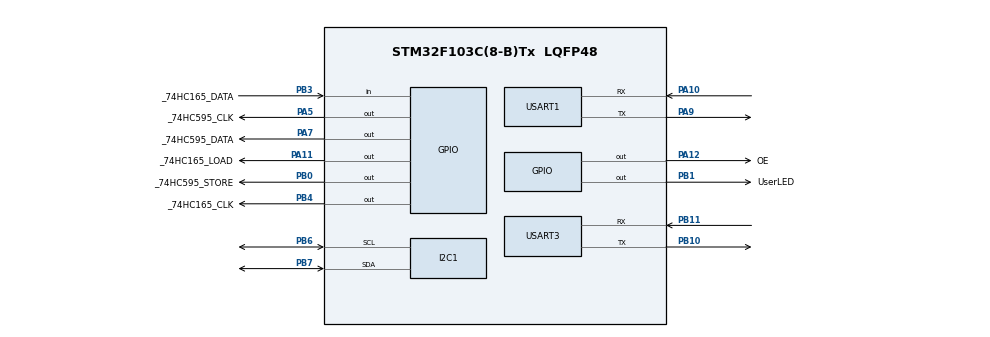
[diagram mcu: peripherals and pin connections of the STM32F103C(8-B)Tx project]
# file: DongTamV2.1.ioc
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Dma.Request0=USART1_RX
Dma.Request1=USART3_RX
Dma.USART1_RX.0.Direction=DMA_PERIPH_TO_MEMORY
Dma.USART1_RX.0.Instance=DMA1_Channel5
Dma.USART1_RX.0.MemDataAlignment=DMA_MDATAALIGN_BYTE
Dma.USART1_RX.0.MemInc=DMA_MINC_ENABLE
Dma.USART1_RX.0.Mode=DMA_NORMAL
Dma.USART1_RX.0.PeriphDataAlignment=DMA_PDATAALIGN_BYTE
Dma.USART1_RX.0.PeriphInc=DMA_PINC_DISABLE
Dma.USART1_RX.0.Priority=DMA_PRIORITY_LOW
Dma.USART3_RX.1.Direction=DMA_PERIPH_TO_MEMORY
Dma.USART3_RX.1.Instance=DMA1_Channel3
Dma.USART3_RX.1.MemDataAlignment=DMA_MDATAALIGN_BYTE
Dma.USART3_RX.1.MemInc=DMA_MINC_ENABLE
Dma.USART3_RX.1.Mode=DMA_NORMAL
Dma.USART3_RX.1.PeriphDataAlignment=DMA_PDATAALIGN_BYTE
Dma.USART3_RX.1.PeriphInc=DMA_PINC_DISABLE
Dma.USART3_RX.1.Priority=DMA_PRIORITY_LOW
Mcu.Family=STM32F1
Mcu.Name=STM32F103C(8-B)Tx
Mcu.Package=LQFP48
NVIC.DMA1_Channel3_IRQn=true\:0\:0\:false\:false\:true\:false\:true\:true
NVIC.DMA1_Channel5_IRQn=true\:0\:0\:false\:false\:true\:false\:true\:true
NVIC.PriorityGroup=NVIC_PRIORITYGROUP_4
NVIC.TIM2_IRQn=true\:0\:0\:false\:false\:true\:true\:true\:true
NVIC.USART1_IRQn=true\:0\:0\:false\:false\:true\:true\:true\:true
NVIC.USART3_IRQn=true\:0\:0\:false\:false\:true\:true\:true\:true
PA10.Mode=Asynchronous
PA10.Signal=USART1_RX
PA11.GPIO_Label=_74HC165_LOAD
PA11.Signal=GPIO_Output
PA12.GPIO_Label=OE
PA12.Signal=GPIO_Output
PA13.Mode=Serial_Wire
PA13.Signal=SYS_JTMS-SWDIO
PA14.Mode=Serial_Wire
PA14.Signal=SYS_JTCK-SWCLK
PA5.GPIO_Label=_74HC595_CLK
PA5.Signal=GPIO_Output
PA7.GPIO_Label=_74HC595_DATA
PA7.Signal=GPIO_Output
PA9.Mode=Asynchronous
PA9.Signal=USART1_TX
PB0.GPIO_Label=_74HC595_STORE
PB0.Signal=GPIO_Output
PB1.GPIO_Label=UserLED
PB1.Signal=GPIO_Output
PB10.Mode=Asynchronous
PB10.Signal=USART3_TX
PB11.Mode=Asynchronous
PB11.Signal=USART3_RX
PB3.GPIO_Label=_74HC165_DATA
PB3.Signal=GPIO_Input
PB4.GPIO_Label=_74HC165_CLK
PB4.Signal=GPIO_Output
PB6.Mode=I2C
PB6.Signal=I2C1_SCL
PB7.Mode=I2C
PB7.Signal=I2C1_SDA
PD0-OSC_IN.Mode=HSE-External-Oscillator
PD0-OSC_IN.Signal=RCC_OSC_IN
PD1-OSC_OUT.Mode=HSE-External-Oscillator
PD1-OSC_OUT.Signal=RCC_OSC_OUT
ProjectManager.HeapSize=0x200
ProjectManager.StackSize=0x400
ProjectManager.TargetToolchain=STM32CubeIDE
RCC.APB1Freq_Value=8000000
RCC.APB2Freq_Value=8000000
TIM2.Period=10000-1
TIM2.Prescaler=8-1
USART1.VirtualMode=VM_ASYNC
USART3.VirtualMode=VM_ASYNC
VP_TIM2_VS_ClockSourceINT.Mode=Internal
board=custom

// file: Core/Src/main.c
/* USER CODE BEGIN Header */
/**
  ******************************************************************************
  * @file           : main.c
  * @brief          : Main program body
  ******************************************************************************
  * @attention
  *
  * Copyright (c) 2023 STMicroelectronics.
  * All rights reserved.
  *
  * This software is licensed under terms that can be found in the LICENSE file
  * in the root directory of this software component.
  * If no LICENSE file comes with this software, it is provided AS-IS.
  *
  ******************************************************************************
  */
/* USER CODE END Header */
#include "main.h"

/* USER CODE BEGIN Includes */
#include "stdbool.h"
#include "stdio.h"
#include "stdlib.h"

#include "BoardParameter.h"
#include "MessageHandle.h"

/* USER CODE END Includes */

I2C_HandleTypeDef hi2c1;

TIM_HandleTypeDef htim2;

UART_HandleTypeDef huart1;
UART_HandleTypeDef huart3;
DMA_HandleTypeDef hdma_usart1_rx;
DMA_HandleTypeDef hdma_usart3_rx;

/* USER CODE BEGIN PV */

FlagGroup_t fUART,fMesg,f1;
int SetVan,ClearVan;
char uartEsp32Buffer[MAX_MESSAGE],uartLogBuffer[MAX_MESSAGE];
uint16_t uartEsp32RxSize,uartLogRxSize;
UART_HandleTypeDef *uartTarget;
char mesgRX[MAX_MESSAGE],mesgTX[MAX_MESSAGE];
MesgValRX mesgRxRet;
uint16_t timerArray[2];
char outputStr[50];
/* USER CODE END PV */

void SystemClock_Config(void);
static void MX_GPIO_Init(void);
static void MX_DMA_Init(void);
static void MX_USART1_UART_Init(void);
static void MX_USART3_UART_Init(void);
static void MX_I2C1_Init(void);
static void MX_TIM2_Init(void);
/* USER CODE BEGIN PFP */
void SetUp();
void ProcedureVan();
HAL_StatusTypeDef GetUartMessage(char *outputStr);
/* USER CODE END PFP */

/* USER CODE BEGIN 0 */
const char *TAG = "MAIN";

void HAL_I2C_MasterRxCpltCallback(I2C_HandleTypeDef *hi2c)
{
	if(hi2c->Instance == I2C1){

	}
}
void HAL_UARTEx_RxEventCallback(UART_HandleTypeDef *huart, uint16_t Size){
	if(huart->Instance == USART1){
		HAL_UARTEx_ReceiveToIdle_DMA(huart, (uint8_t*)uartEsp32Buffer, MAX_MESSAGE);
		uartEsp32RxSize = Size;
		SETFLAG(fUART,FLAG_UART_ESP_RX_DONE);
	}
	if(huart->Instance == USART3){
		HAL_UARTEx_ReceiveToIdle_DMA(huart, (uint8_t*)uartLogBuffer, MAX_MESSAGE);
		uartLogRxSize = Size;
		SETFLAG(fUART,FLAG_UART_LOG_RX_DONE);
	}
}

void HAL_TIM_PeriodElapsedCallback(TIM_HandleTypeDef *htim)
{
	if(htim->Instance == TIM2){
		VanProcedure state = Brd_GetVanProcState();
		uint32_t tArray;
		switch(state){
			case BRD_PULSE_TIME:
				tArray = Brd_GetTimerArray(0);
				tArray++;
				Brd_SetTimerArray(0, tArray);
			break;
			case BRD_INTERVAL_TIME:
				tArray = Brd_GetTimerArray(1);
				tArray++;
				Brd_SetTimerArray(1, tArray);
			break;
			case BRD_CYCLE_INTERVAL_TIME:
//				tArray = Brd_GetTimerArray(2);
//				tArray++;
//				Brd_SetTimerArray(2, tArray);
			break;
			default:

			break;
		}
	}
}

extern BoardParameter brdParam;
/* USER CODE END 0 */

int main(void)
{

  /* MCU Configuration--------------------------------------------------------*/

  /* Reset of all peripherals, Initializes the Flash interface and the Systick. */
  HAL_Init();

  /* Configure the system clock */
  SystemClock_Config();

  /* Initialize all configured peripherals */
  MX_GPIO_Init();
  MX_DMA_Init();
  MX_USART1_UART_Init();
  MX_USART3_UART_Init();
  MX_I2C1_Init();
  MX_TIM2_Init();
  /* USER CODE BEGIN 2 */
  SetUp();
  HAL_GPIO_WritePin(UserLED_GPIO_Port, UserLED_Pin, 1);
  HAL_TIM_Base_Start_IT(&htim2);
  uartTarget = &huart3;
  while(!uartTarget);
  brdParam.cycIntvTime = 2;
  brdParam.intervalTime = 10;
  brdParam.pulseTime = 60;
  Brd_SetTotalVan(2);
  /* USER CODE END 2 */

  /* Infinite loop */
  /* USER CODE BEGIN WHILE */
  while (1)
  {
	  if(!GetUartMessage(mesgRX)){
		  mesgRxRet = MessageRxHandle(mesgRX,mesgTX);
		  if((HAL_StatusTypeDef)mesgRxRet != HAL_OK) {
			  HAL_UART_Transmit(uartTarget,(uint8_t*) mesgTX, strlen(mesgTX), HAL_MAX_DELAY);
			  char *s = "Invalid message, do nothing\n";
			  HAL_UART_Transmit(uartTarget,(uint8_t*) s, strlen(s), HAL_MAX_DELAY);
		  }
		  else HAL_UART_Transmit(uartTarget, (uint8_t*) mesgTX, strlen(mesgTX), HAL_MAX_DELAY);
	  }
	  ProcedureTriggerVan(outputStr);
	  if(Brd_GetVanProcState() == BRD_PULSE_TIME){
		  // log pressure
		  HAL_UART_Transmit(uartTarget,(uint8_t*)outputStr, strlen(outputStr), HAL_MAX_DELAY);
	  }
	  if(Brd_GetVanProcState() == BRD_INTERVAL_TIME && Brd_GetHC165State()){
		  // log VanState
		  HAL_UART_Transmit(uartTarget,(uint8_t*)outputStr, strlen(outputStr), HAL_MAX_DELAY);
		  Brd_SetHC165State(false);
	  }
    /* USER CODE END WHILE */

  }
}

void SystemClock_Config(void)
{
  RCC_OscInitTypeDef RCC_OscInitStruct = {0};
  RCC_ClkInitTypeDef RCC_ClkInitStruct = {0};

  /** Initializes the RCC Oscillators according to the specified parameters
  * in the RCC_OscInitTypeDef structure.
  */
  RCC_OscInitStruct.OscillatorType = RCC_OSCILLATORTYPE_HSI;
  RCC_OscInitStruct.HSIState = RCC_HSI_ON;
  RCC_OscInitStruct.HSICalibrationValue = RCC_HSICALIBRATION_DEFAULT;
  RCC_OscInitStruct.PLL.PLLState = RCC_PLL_NONE;
  if (HAL_RCC_OscConfig(&RCC_OscInitStruct) != HAL_OK)
  {
    Error_Handler();
  }

  /** Initializes the CPU, AHB and APB buses clocks
  */
  RCC_ClkInitStruct.ClockType = RCC_CLOCKTYPE_HCLK|RCC_CLOCKTYPE_SYSCLK
                              |RCC_CLOCKTYPE_PCLK1|RCC_CLOCKTYPE_PCLK2;
  RCC_ClkInitStruct.SYSCLKSource = RCC_SYSCLKSOURCE_HSI;
  RCC_ClkInitStruct.AHBCLKDivider = RCC_SYSCLK_DIV1;
  RCC_ClkInitStruct.APB1CLKDivider = RCC_HCLK_DIV1;
  RCC_ClkInitStruct.APB2CLKDivider = RCC_HCLK_DIV1;

  if (HAL_RCC_ClockConfig(&RCC_ClkInitStruct, FLASH_LATENCY_0) != HAL_OK)
  {
    Error_Handler();
  }
}

static void MX_I2C1_Init(void)
{

  hi2c1.Instance = I2C1;
  hi2c1.Init.ClockSpeed = 100000;
  hi2c1.Init.DutyCycle = I2C_DUTYCYCLE_2;
  hi2c1.Init.OwnAddress1 = 0;
  hi2c1.Init.AddressingMode = I2C_ADDRESSINGMODE_7BIT;
  hi2c1.Init.DualAddressMode = I2C_DUALADDRESS_DISABLE;
  hi2c1.Init.OwnAddress2 = 0;
  hi2c1.Init.GeneralCallMode = I2C_GENERALCALL_DISABLE;
  hi2c1.Init.NoStretchMode = I2C_NOSTRETCH_DISABLE;
  if (HAL_I2C_Init(&hi2c1) != HAL_OK)
  {
    Error_Handler();
  }

}

static void MX_TIM2_Init(void)
{

  TIM_ClockConfigTypeDef sClockSourceConfig = {0};
  TIM_MasterConfigTypeDef sMasterConfig = {0};

  htim2.Instance = TIM2;
  htim2.Init.Prescaler = 8-1;
  htim2.Init.CounterMode = TIM_COUNTERMODE_UP;
  htim2.Init.Period = 10000-1;
  htim2.Init.ClockDivision = TIM_CLOCKDIVISION_DIV1;
  htim2.Init.AutoReloadPreload = TIM_AUTORELOAD_PRELOAD_DISABLE;
  if (HAL_TIM_Base_Init(&htim2) != HAL_OK)
  {
    Error_Handler();
  }
  sClockSourceConfig.ClockSource = TIM_CLOCKSOURCE_INTERNAL;
  if (HAL_TIM_ConfigClockSource(&htim2, &sClockSourceConfig) != HAL_OK)
  {
    Error_Handler();
  }
  sMasterConfig.MasterOutputTrigger = TIM_TRGO_RESET;
  sMasterConfig.MasterSlaveMode = TIM_MASTERSLAVEMODE_DISABLE;
  if (HAL_TIMEx_MasterConfigSynchronization(&htim2, &sMasterConfig) != HAL_OK)
  {
    Error_Handler();
  }

}

static void MX_USART1_UART_Init(void)
{

  huart1.Instance = USART1;
  huart1.Init.BaudRate = 115200;
  huart1.Init.WordLength = UART_WORDLENGTH_8B;
  huart1.Init.StopBits = UART_STOPBITS_1;
  huart1.Init.Parity = UART_PARITY_NONE;
  huart1.Init.Mode = UART_MODE_TX_RX;
  huart1.Init.HwFlowCtl = UART_HWCONTROL_NONE;
  huart1.Init.OverSampling = UART_OVERSAMPLING_16;
  if (HAL_UART_Init(&huart1) != HAL_OK)
  {
    Error_Handler();
  }

}

static void MX_USART3_UART_Init(void)
{

  huart3.Instance = USART3;
  huart3.Init.BaudRate = 115200;
  huart3.Init.WordLength = UART_WORDLENGTH_8B;
  huart3.Init.StopBits = UART_STOPBITS_1;
  huart3.Init.Parity = UART_PARITY_NONE;
  huart3.Init.Mode = UART_MODE_TX_RX;
  huart3.Init.HwFlowCtl = UART_HWCONTROL_NONE;
  huart3.Init.OverSampling = UART_OVERSAMPLING_16;
  if (HAL_UART_Init(&huart3) != HAL_OK)
  {
    Error_Handler();
  }

}

static void MX_DMA_Init(void)
{

  /* DMA controller clock enable */
  __HAL_RCC_DMA1_CLK_ENABLE();

  /* DMA interrupt init */
  /* DMA1_Channel3_IRQn interrupt configuration */
  HAL_NVIC_SetPriority(DMA1_Channel3_IRQn, 0, 0);
  HAL_NVIC_EnableIRQ(DMA1_Channel3_IRQn);
  /* DMA1_Channel5_IRQn interrupt configuration */
  HAL_NVIC_SetPriority(DMA1_Channel5_IRQn, 0, 0);
  HAL_NVIC_EnableIRQ(DMA1_Channel5_IRQn);

}

static void MX_GPIO_Init(void)
{
  GPIO_InitTypeDef GPIO_InitStruct = {0};

  /* GPIO Ports Clock Enable */
  __HAL_RCC_GPIOD_CLK_ENABLE();
  __HAL_RCC_GPIOA_CLK_ENABLE();
  __HAL_RCC_GPIOB_CLK_ENABLE();

  /*Configure GPIO pin Output Level */
  HAL_GPIO_WritePin(GPIOA, _74HC595_CLK_Pin|_74HC595_DATA_Pin|_74HC165_LOAD_Pin|OE_Pin, GPIO_PIN_RESET);

  /*Configure GPIO pin Output Level */
  HAL_GPIO_WritePin(GPIOB, _74HC595_STORE_Pin|UserLED_Pin|_74HC165_CLK_Pin, GPIO_PIN_RESET);

  /*Configure GPIO pins : _74HC595_CLK_Pin _74HC595_DATA_Pin _74HC165_LOAD_Pin OE_Pin */
  GPIO_InitStruct.Pin = _74HC595_CLK_Pin|_74HC595_DATA_Pin|_74HC165_LOAD_Pin|OE_Pin;
  GPIO_InitStruct.Mode = GPIO_MODE_OUTPUT_PP;
  GPIO_InitStruct.Pull = GPIO_NOPULL;
  GPIO_InitStruct.Speed = GPIO_SPEED_FREQ_LOW;
  HAL_GPIO_Init(GPIOA, &GPIO_InitStruct);

  /*Configure GPIO pins : _74HC595_STORE_Pin UserLED_Pin _74HC165_CLK_Pin */
  GPIO_InitStruct.Pin = _74HC595_STORE_Pin|UserLED_Pin|_74HC165_CLK_Pin;
  GPIO_InitStruct.Mode = GPIO_MODE_OUTPUT_PP;
  GPIO_InitStruct.Pull = GPIO_NOPULL;
  GPIO_InitStruct.Speed = GPIO_SPEED_FREQ_LOW;
  HAL_GPIO_Init(GPIOB, &GPIO_InitStruct);

  /*Configure GPIO pin : _74HC165_DATA_Pin */
  GPIO_InitStruct.Pin = _74HC165_DATA_Pin;
  GPIO_InitStruct.Mode = GPIO_MODE_INPUT;
  GPIO_InitStruct.Pull = GPIO_NOPULL;
  HAL_GPIO_Init(_74HC165_DATA_GPIO_Port, &GPIO_InitStruct);

}

/* USER CODE BEGIN 4 */

/**
 * @brief Nếu có chuỗi nhận được từ port UART (ESP hoặc máy tính), copy chuỗi nhận được ra outputStr và reset bộ đệm
 * @param outputStr mảng chứa thông tin nhận được từ UART
 * @return
 */
HAL_StatusTypeDef GetUartMessage(char *outputStr)
{
	if(CHECKFLAG(fUART,FLAG_UART_ESP_RX_DONE)){
		uartTarget = &huart1;
		strcpy(mesgRX,uartEsp32Buffer);
		memset(uartEsp32Buffer,0,uartEsp32RxSize);
		CLEARFLAG(fUART,FLAG_UART_ESP_RX_DONE);
		return HAL_OK;
	}
	if(CHECKFLAG(fUART,FLAG_UART_LOG_RX_DONE)){
		uartTarget = &huart3;
		strcpy(mesgRX,uartLogBuffer);
		memset(uartLogBuffer,0,uartLogRxSize);
		CLEARFLAG(fUART,FLAG_UART_LOG_RX_DONE);
		return HAL_OK;
	}
	return HAL_ERROR;
}

void UartIdle_Init()
{
	HAL_UARTEx_ReceiveToIdle_DMA(&huart1, (uint8_t*)uartEsp32Buffer, MAX_MESSAGE);
	HAL_UARTEx_ReceiveToIdle_DMA(&huart3, (uint8_t*)uartLogBuffer, MAX_MESSAGE);
	__HAL_DMA_DISABLE_IT(&hdma_usart1_rx,DMA_IT_HT);
	__HAL_DMA_DISABLE_IT(&hdma_usart3_rx,DMA_IT_HT);
}

void hc595_SetUp()
{
	HC595* p595 = Brd_GetAddress_HC595();
	HC595_AssignPin(p595, GPIOA, GPIO_PIN_5, HC595_CLK);
	HC595_AssignPin(p595, GPIOA, GPIO_PIN_7, HC595_DS);
	HC595_AssignPin(p595, GPIOB, GPIO_PIN_0, HC595_LATCH);
	HC595_AssignPin(p595, GPIOA, GPIO_PIN_12,HC595_OE);
	HC595_SetTarget(p595);

	HC595_ClearByteOutput(0xffffffff);
	HC595_ShiftOut(NULL, 2, 1);
	HC595_EnableOutput();
}

void hc165_SetUp()
{
	HC165* p165 = Brd_GetAddress_HC165();
	HC165_AssignPin(p165, GPIOA, GPIO_PIN_11, HC165_PL);
	HC165_AssignPin(p165, GPIOB, GPIO_PIN_3, HC165_DATA);
	HC165_AssignPin(p165, GPIOA, GPIO_PIN_12, HC165_CE);
	HC165_AssignPin(p165, GPIOB, GPIO_PIN_4, HC165_CP);
}

void SetUp()
{
	AMS5915_Init(Brd_GetAddress_AMS5915(),&hi2c1);
	PCF8563_Init(Brd_GetAddress_PCF8563(),&hi2c1);
	PCF8563_StartClock();
	PCF8563_CLKOUT_SetFreq(CLKOUT_1_Hz);
	PCF8563_CLKOUT_Enable(1);
	UartIdle_Init();
	hc165_SetUp();
	hc595_SetUp();
	HAL_UART_Transmit(&huart1, (uint8_t*)"Hello ESP32\n", strlen("Hello ESP32\n"), HAL_MAX_DELAY);
}

/* USER CODE END 4 */

void Error_Handler(void)
{
  __disable_irq();
  while (1)
  {
  }
}
